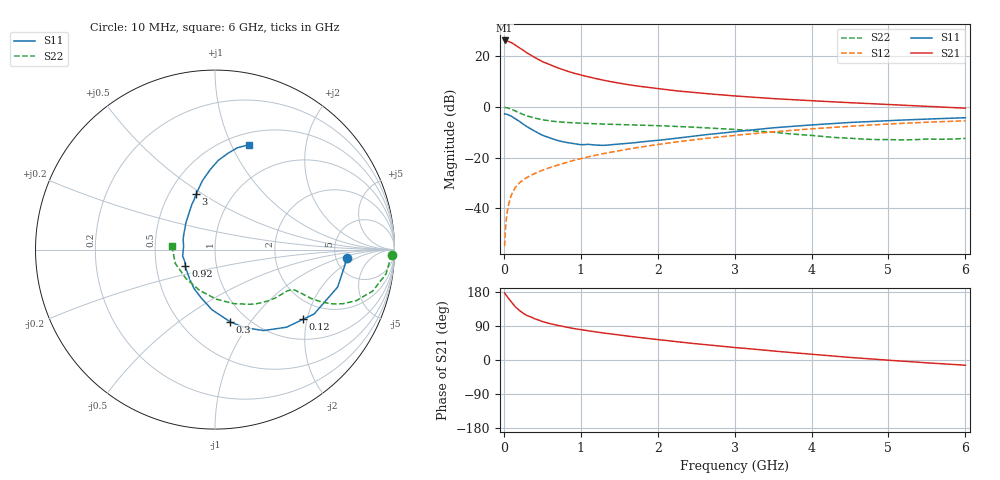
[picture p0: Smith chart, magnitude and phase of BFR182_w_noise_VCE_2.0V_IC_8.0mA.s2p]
! Infineon Technologies  Discrete & RF Semiconductors
! BFR182
! VCE =  2.0 V,  IC =  8.0 mA
! Common Emitter S-Parameters:  Nov 2015
# GHz  S  MA  R  50
!  f  S11  S21  S12  S22
! GHz  MAG  ANG  MAG  ANG  MAG  ANG  MAG  ANG
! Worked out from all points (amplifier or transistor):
!   210 points, 10 MHz to 6 GHz, reference 50 ohm
!   highest |S21| = 26.3 dB at 10 MHz (marker M1)
!   |S21| within 3 dB of that: start of sweep to 209.1 MHz
!   unconditionally stable (mu >= 1): 828.9 MHz to 2.709 GHz
!   at 185 MHz: K = 0.45, MSG = 27.1 dB, |S12| = -30.5 dB
!   at 1.52 GHz: K = 1.06, MAG = 11.8 dB, |S12| = -17.1 dB
!   at 6 GHz: K = 0.89, MSG = 2.5 dB, |S12| = -5.4 dB
!   lowest NFmin = 1.40 dB at 450 MHz
!   S11 on the Smith chart (normalised r, x): 10 MHz: 6.27, -1.26; 120 MHz: 1.49, -1.89; 300 MHz: 0.83, -0.81; 920 MHz: 0.71, -0.14; 3 GHz: 0.68, +0.47; 6 GHz: 0.62, +1.17
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0.01  0.7344 -3.6  20.61 177.0  0.0018 88.8  0.9849 -1.6
0.025  0.7248 -8.6  20.33 172.4  0.0048 85.2  0.9741 -4.2
0.05  0.7144 -17.0  20.02 165.3  0.0097 83.5  0.963 -8.0
0.1  0.6585 -33.0  18.69 152.0  0.0187 75.6  0.9077 -14.8
0.12  0.6258 -38.3  17.8 147.6  0.0216 72.9  0.8783 -16.7
0.15  0.5883 -47.3  16.69 140.1  0.0259 69.9  0.8363 -19.9
0.2  0.5256 -59.1  14.91 131.2  0.0317 67.1  0.7723 -23.0
0.26  0.4518 -71.1  12.93 122.3  0.0374 64.9  0.7058 -25.2
0.3  0.4113 -78.1  11.77 117.5  0.0408 64.7  0.6686 -26.1
0.4  0.3355 -92.9  9.538 109.0  0.0488 63.3  0.6051 -26.9
0.5  0.2791 -106.2  7.912 101.5  0.0565 63.9  0.5624 -26.9
0.6  0.2461 -118.4  6.799 95.9  0.0641 64.8  0.5322 -26.8
0.7  0.2188 -129.3  5.939 91.2  0.0716 65.5  0.5126 -26.9
0.92  0.1893 -150.7  4.617 82.8  0.0897 66.0  0.4875 -27.3
1.02  0.181 -160.9  4.217 79.4  0.0976 66.2  0.4794 -27.9
1.4  0.1813 166.3  3.148 68.5  0.1293 65.8  0.4571 -31.2
2.02  0.2217 136.8  2.286 53.5  0.1842 62.5  0.4289 -39.2
3  0.3271 108.7  1.658 33.0  0.2758 54.4  0.3616 -57.4
3.1  0.3389 106.8  1.617 31.3  0.2852 53.3  0.3517 -59.8
4.1  0.4542 92.5  1.309 13.5  0.3809 42.4  0.2662 -92.7
5.1  0.5479 81.5  1.106 -2.0  0.4713 30.0  0.2258 -140.3
6  0.6157 71.9  0.951 -13.8  0.5344 17.5  0.2407 175.7
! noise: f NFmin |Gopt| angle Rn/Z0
0.45  1.4  0.26  41  0.29
0.9  1.5  0.25  83  0.23
1.8  2  0.21  162  0.2
